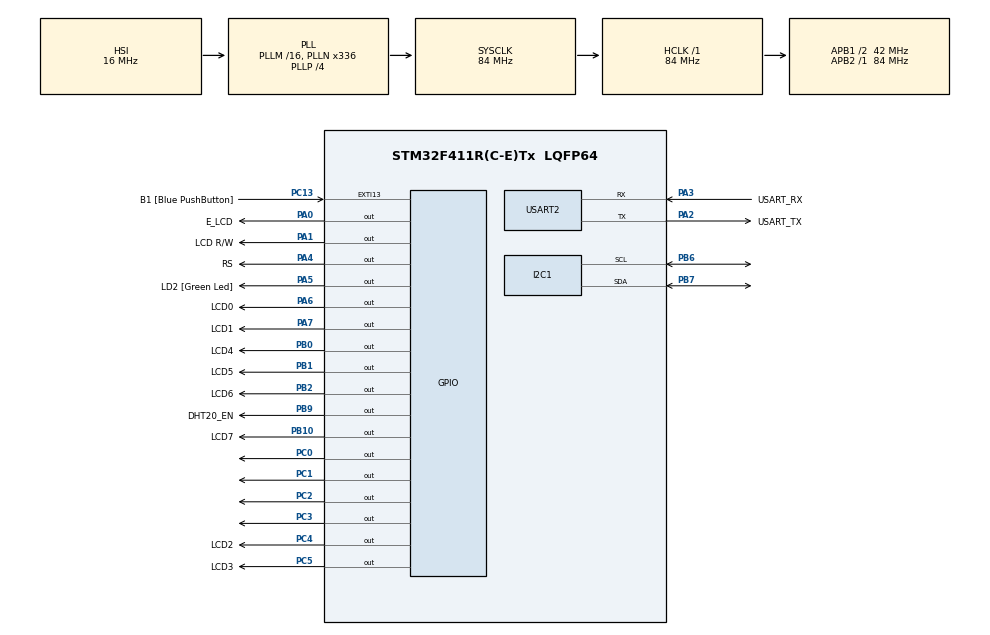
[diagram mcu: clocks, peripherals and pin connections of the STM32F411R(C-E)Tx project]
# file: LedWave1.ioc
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Mcu.Family=STM32F4
Mcu.Name=STM32F411R(C-E)Tx
Mcu.Package=LQFP64
NVIC.PriorityGroup=NVIC_PRIORITYGROUP_0
PA0-WKUP.GPIO_Label=E_LCD
PA0-WKUP.Signal=GPIO_Output
PA1.GPIO_Label=LCD R/W
PA1.Signal=GPIO_Output
PA13.GPIO_Label=TMS
PA13.Mode=Serial_Wire
PA13.Signal=SYS_JTMS-SWDIO
PA14.GPIO_Label=TCK
PA14.Mode=Serial_Wire
PA14.Signal=SYS_JTCK-SWCLK
PA2.GPIO_Label=USART_TX
PA2.Mode=Asynchronous
PA2.Signal=USART2_TX
PA3.GPIO_Label=USART_RX
PA3.Mode=Asynchronous
PA3.Signal=USART2_RX
PA4.GPIO_Label=RS
PA4.Signal=GPIO_Output
PA5.GPIO_Label=LD2 [Green Led]
PA5.Signal=GPIO_Output
PA6.GPIO_Label=LCD0
PA6.Signal=GPIO_Output
PA7.GPIO_Label=LCD1
PA7.Signal=GPIO_Output
PB0.GPIO_Label=LCD4
PB0.Signal=GPIO_Output
PB1.GPIO_Label=LCD5
PB1.Signal=GPIO_Output
PB10.GPIO_Label=LCD7
PB10.Signal=GPIO_Output
PB2.GPIO_Label=LCD6
PB2.Signal=GPIO_Output
PB3.GPIO_Label=SWO
PB3.Signal=SYS_JTDO-SWO
PB6.Mode=I2C
PB6.Signal=I2C1_SCL
PB7.Mode=I2C
PB7.Signal=I2C1_SDA
PB9.GPIO_Label=DHT20_EN
PB9.Signal=GPIO_Output
PC0.Signal=GPIO_Output
PC1.Signal=GPIO_Output
PC13-ANTI_TAMP.GPIO_Label=B1 [Blue PushButton]
PC13-ANTI_TAMP.GPIO_ModeDefaultEXTI=GPIO_MODE_IT_FALLING
PC13-ANTI_TAMP.Signal=GPXTI13
PC14-OSC32_IN.Mode=LSE-External-Oscillator
PC14-OSC32_IN.Signal=RCC_OSC32_IN
PC15-OSC32_OUT.Mode=LSE-External-Oscillator
PC15-OSC32_OUT.Signal=RCC_OSC32_OUT
PC2.Signal=GPIO_Output
PC3.Signal=GPIO_Output
PC4.GPIO_Label=LCD2
PC4.Signal=GPIO_Output
PC5.GPIO_Label=LCD3
PC5.Signal=GPIO_Output
PH0\ -\ OSC_IN.Mode=HSE-External-Clock-Source
PH0\ -\ OSC_IN.Signal=RCC_OSC_IN
PH1\ -\ OSC_OUT.Mode=HSE-External-Clock-Source
PH1\ -\ OSC_OUT.Signal=RCC_OSC_OUT
ProjectManager.HeapSize=0x200
ProjectManager.StackSize=0x400
ProjectManager.TargetToolchain=STM32CubeIDE
RCC.48MHZClocksFreq_Value=84000000
RCC.AHBFreq_Value=84000000
RCC.APB1CLKDivider=RCC_HCLK_DIV2
RCC.APB1Freq_Value=42000000
RCC.APB1TimFreq_Value=84000000
RCC.APB2Freq_Value=84000000
RCC.APB2TimFreq_Value=84000000
RCC.CortexFreq_Value=84000000
RCC.FLatency-AdvancedSettings=FLASH_LATENCY_2
RCC.HCLKFreq_Value=84000000
RCC.HSE_VALUE=8000000
RCC.HSI_VALUE=16000000
RCC.PLLN=336
RCC.PLLP=RCC_PLLP_DIV4
RCC.SYSCLKFreq_VALUE=84000000
RCC.SYSCLKSource=RCC_SYSCLKSOURCE_PLLCLK
RCC.VCOOutputFreq_Value=336000000
USART2.VirtualMode=VM_ASYNC
board=NUCLEO-F411RE

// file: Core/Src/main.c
/* USER CODE BEGIN Header */
/**
  ******************************************************************************
  * @file           : main.c
  * @brief          : Main program body
  ******************************************************************************
  * @attention
  *
  * Copyright (c) 2025 STMicroelectronics.
  * All rights reserved.
  *
  * This software is licensed under terms that can be found in the LICENSE file
  * in the root directory of this software component.
  * If no LICENSE file comes with this software, it is provided AS-IS.
  *
  ******************************************************************************
  */
/* USER CODE END Header */
#include "main.h"

/* USER CODE BEGIN Includes */
#include <string.h>
#include <stdio.h>
/* USER CODE END Includes */

/* USER CODE BEGIN PM */
#define LCD_NEXTLINE 							0xC0
#define LCD_CLEAR								0x01
#define LCD_8BIT_INIT_SIGNAL					0x30
#define LCD_8BIT_2LINES_5x8_FONT				0x38
#define LCD_DISPLAY_ON_CURSOR_OFF_BLINK_OFF		0x0C
#define LCD_ENTRY_MODE							0x06
#define DHT20_ADDRESS 							0x38
/* USER CODE END PM */

I2C_HandleTypeDef hi2c1;

UART_HandleTypeDef huart2;

void SystemClock_Config(void);
static void MX_GPIO_Init(void);
static void MX_USART2_UART_Init(void);
static void MX_I2C1_Init(void);
/* USER CODE BEGIN PFP */
void turnOnLED(int led_number);
void LCD_SendCommand(uint8_t cmd);
void LCD_SendData(uint8_t data);
void LCD_WriteByte(uint8_t byte);
void LCD_PulseEnable(void);
void writeToLCD(const char* str);
void LCD_Init(void);
void DHT20_Measure(void);
char* getMeasurement(void);
/* USER CODE END PFP */

int main(void)
{

  /* USER CODE BEGIN 1 */

//	HAL_Delay(1);

  /* USER CODE END 1 */

  /* MCU Configuration--------------------------------------------------------*/

  /* Reset of all peripherals, Initializes the Flash interface and the Systick. */
  HAL_Init();

  /* Configure the system clock */
  SystemClock_Config();

  /* Initialize all configured peripherals */
  MX_GPIO_Init();
  MX_USART2_UART_Init();
  MX_I2C1_Init();
  /* USER CODE BEGIN 2 */
  LCD_Init();

  writeToLCD("LCD WORKS!");
  LCD_SendCommand(LCD_NEXTLINE);
  writeToLCD("WELCOME");

  DHT20_Measure();
  /* USER CODE END 2 */

  /* Infinite loop */
  while (1)
  {

    /* USER CODE BEGIN 3 */
	  turnOnLED(0);
	  DHT20_Measure();
	  HAL_Delay(5000);

  }
  /* USER CODE END 3 */
}

void SystemClock_Config(void)
{
  RCC_OscInitTypeDef RCC_OscInitStruct = {0};
  RCC_ClkInitTypeDef RCC_ClkInitStruct = {0};

  /** Configure the main internal regulator output voltage
  */
  __HAL_RCC_PWR_CLK_ENABLE();
  __HAL_PWR_VOLTAGESCALING_CONFIG(PWR_REGULATOR_VOLTAGE_SCALE1);

  /** Initializes the RCC Oscillators according to the specified parameters
  * in the RCC_OscInitTypeDef structure.
  */
  RCC_OscInitStruct.OscillatorType = RCC_OSCILLATORTYPE_HSI;
  RCC_OscInitStruct.HSIState = RCC_HSI_ON;
  RCC_OscInitStruct.HSICalibrationValue = RCC_HSICALIBRATION_DEFAULT;
  RCC_OscInitStruct.PLL.PLLState = RCC_PLL_ON;
  RCC_OscInitStruct.PLL.PLLSource = RCC_PLLSOURCE_HSI;
  RCC_OscInitStruct.PLL.PLLM = 16;
  RCC_OscInitStruct.PLL.PLLN = 336;
  RCC_OscInitStruct.PLL.PLLP = RCC_PLLP_DIV4;
  RCC_OscInitStruct.PLL.PLLQ = 4;
  if (HAL_RCC_OscConfig(&RCC_OscInitStruct) != HAL_OK)
  {
    Error_Handler();
  }

  /** Initializes the CPU, AHB and APB buses clocks
  */
  RCC_ClkInitStruct.ClockType = RCC_CLOCKTYPE_HCLK|RCC_CLOCKTYPE_SYSCLK
                              |RCC_CLOCKTYPE_PCLK1|RCC_CLOCKTYPE_PCLK2;
  RCC_ClkInitStruct.SYSCLKSource = RCC_SYSCLKSOURCE_PLLCLK;
  RCC_ClkInitStruct.AHBCLKDivider = RCC_SYSCLK_DIV1;
  RCC_ClkInitStruct.APB1CLKDivider = RCC_HCLK_DIV2;
  RCC_ClkInitStruct.APB2CLKDivider = RCC_HCLK_DIV1;

  if (HAL_RCC_ClockConfig(&RCC_ClkInitStruct, FLASH_LATENCY_2) != HAL_OK)
  {
    Error_Handler();
  }
}

static void MX_I2C1_Init(void)
{

  hi2c1.Instance = I2C1;
  hi2c1.Init.ClockSpeed = 100000;
  hi2c1.Init.DutyCycle = I2C_DUTYCYCLE_2;
  hi2c1.Init.OwnAddress1 = 0;
  hi2c1.Init.AddressingMode = I2C_ADDRESSINGMODE_7BIT;
  hi2c1.Init.DualAddressMode = I2C_DUALADDRESS_DISABLE;
  hi2c1.Init.OwnAddress2 = 0;
  hi2c1.Init.GeneralCallMode = I2C_GENERALCALL_DISABLE;
  hi2c1.Init.NoStretchMode = I2C_NOSTRETCH_DISABLE;
  if (HAL_I2C_Init(&hi2c1) != HAL_OK)
  {
    Error_Handler();
  }

}

static void MX_USART2_UART_Init(void)
{

  huart2.Instance = USART2;
  huart2.Init.BaudRate = 115200;
  huart2.Init.WordLength = UART_WORDLENGTH_8B;
  huart2.Init.StopBits = UART_STOPBITS_1;
  huart2.Init.Parity = UART_PARITY_NONE;
  huart2.Init.Mode = UART_MODE_TX_RX;
  huart2.Init.HwFlowCtl = UART_HWCONTROL_NONE;
  huart2.Init.OverSampling = UART_OVERSAMPLING_16;
  if (HAL_UART_Init(&huart2) != HAL_OK)
  {
    Error_Handler();
  }

}

static void MX_GPIO_Init(void)
{
  GPIO_InitTypeDef GPIO_InitStruct = {0};

  /* GPIO Ports Clock Enable */
  __HAL_RCC_GPIOC_CLK_ENABLE();
  __HAL_RCC_GPIOH_CLK_ENABLE();
  __HAL_RCC_GPIOA_CLK_ENABLE();
  __HAL_RCC_GPIOB_CLK_ENABLE();

  /*Configure GPIO pin Output Level */
  HAL_GPIO_WritePin(GPIOC, GPIO_PIN_0|GPIO_PIN_1|GPIO_PIN_2|GPIO_PIN_3
                          |LCD2_Pin|LCD3_Pin, GPIO_PIN_RESET);

  /*Configure GPIO pin Output Level */
  HAL_GPIO_WritePin(GPIOA, E_LCD_Pin|LCD_R_W_Pin|RS_Pin|LD2_Pin
                          |LCD0_Pin|LCD1_Pin, GPIO_PIN_RESET);

  /*Configure GPIO pin Output Level */
  HAL_GPIO_WritePin(GPIOB, LCD4_Pin|LCD5_Pin|LCD6_Pin|LCD7_Pin
                          |DHT20_EN_Pin, GPIO_PIN_RESET);

  /*Configure GPIO pin : B1_Pin */
  GPIO_InitStruct.Pin = B1_Pin;
  GPIO_InitStruct.Mode = GPIO_MODE_IT_FALLING;
  GPIO_InitStruct.Pull = GPIO_NOPULL;
  HAL_GPIO_Init(B1_GPIO_Port, &GPIO_InitStruct);

  /*Configure GPIO pins : PC0 PC1 PC2 PC3
                           LCD2_Pin LCD3_Pin */
  GPIO_InitStruct.Pin = GPIO_PIN_0|GPIO_PIN_1|GPIO_PIN_2|GPIO_PIN_3
                          |LCD2_Pin|LCD3_Pin;
  GPIO_InitStruct.Mode = GPIO_MODE_OUTPUT_PP;
  GPIO_InitStruct.Pull = GPIO_NOPULL;
  GPIO_InitStruct.Speed = GPIO_SPEED_FREQ_LOW;
  HAL_GPIO_Init(GPIOC, &GPIO_InitStruct);

  /*Configure GPIO pins : E_LCD_Pin LCD_R_W_Pin RS_Pin LD2_Pin
                           LCD0_Pin LCD1_Pin */
  GPIO_InitStruct.Pin = E_LCD_Pin|LCD_R_W_Pin|RS_Pin|LD2_Pin
                          |LCD0_Pin|LCD1_Pin;
  GPIO_InitStruct.Mode = GPIO_MODE_OUTPUT_PP;
  GPIO_InitStruct.Pull = GPIO_NOPULL;
  GPIO_InitStruct.Speed = GPIO_SPEED_FREQ_LOW;
  HAL_GPIO_Init(GPIOA, &GPIO_InitStruct);

  /*Configure GPIO pins : LCD4_Pin LCD5_Pin LCD6_Pin LCD7_Pin
                           DHT20_EN_Pin */
  GPIO_InitStruct.Pin = LCD4_Pin|LCD5_Pin|LCD6_Pin|LCD7_Pin
                          |DHT20_EN_Pin;
  GPIO_InitStruct.Mode = GPIO_MODE_OUTPUT_PP;
  GPIO_InitStruct.Pull = GPIO_NOPULL;
  GPIO_InitStruct.Speed = GPIO_SPEED_FREQ_LOW;
  HAL_GPIO_Init(GPIOB, &GPIO_InitStruct);

}

/* USER CODE BEGIN 4 */
void LCD_SendCommand(uint8_t cmd) {
    HAL_GPIO_WritePin(RS_GPIO_Port, RS_Pin, GPIO_PIN_RESET);
    HAL_GPIO_WritePin(LCD_R_W_GPIO_Port, LCD_R_W_Pin, GPIO_PIN_RESET);
    LCD_WriteByte(cmd);
    HAL_Delay(1);
}

void LCD_SendData(uint8_t data) {
    HAL_GPIO_WritePin(RS_GPIO_Port, RS_Pin, GPIO_PIN_SET);
    HAL_GPIO_WritePin(LCD_R_W_GPIO_Port, LCD_R_W_Pin, GPIO_PIN_RESET);
    LCD_WriteByte(data);
    HAL_Delay(1);
}

void LCD_WriteByte(uint8_t byte) {
    // Write each bit to its respective pin
    HAL_GPIO_WritePin(LCD0_GPIO_Port, LCD0_Pin, (byte & 0x01) ? GPIO_PIN_SET : GPIO_PIN_RESET);
    HAL_GPIO_WritePin(LCD1_GPIO_Port, LCD1_Pin, (byte & 0x02) ? GPIO_PIN_SET : GPIO_PIN_RESET);
    HAL_GPIO_WritePin(LCD2_GPIO_Port, LCD2_Pin, (byte & 0x04) ? GPIO_PIN_SET : GPIO_PIN_RESET);
    HAL_GPIO_WritePin(LCD3_GPIO_Port, LCD3_Pin, (byte & 0x08) ? GPIO_PIN_SET : GPIO_PIN_RESET);
    HAL_GPIO_WritePin(LCD4_GPIO_Port, LCD4_Pin, (byte & 0x10) ? GPIO_PIN_SET : GPIO_PIN_RESET);
    HAL_GPIO_WritePin(LCD5_GPIO_Port, LCD5_Pin, (byte & 0x20) ? GPIO_PIN_SET : GPIO_PIN_RESET);
    HAL_GPIO_WritePin(LCD6_GPIO_Port, LCD6_Pin, (byte & 0x40) ? GPIO_PIN_SET : GPIO_PIN_RESET);
    HAL_GPIO_WritePin(LCD7_GPIO_Port, LCD7_Pin, (byte & 0x80) ? GPIO_PIN_SET : GPIO_PIN_RESET);

    // Pulse the enable pin
    LCD_PulseEnable();
}

void LCD_PulseEnable(void) {
    HAL_GPIO_WritePin(E_LCD_GPIO_Port, E_LCD_Pin, GPIO_PIN_SET);
    HAL_Delay(1);  // Enable pulse width (typically > 450ns)
    HAL_GPIO_WritePin(E_LCD_GPIO_Port, E_LCD_Pin, GPIO_PIN_RESET);
    // No need for additional delay here, handled in calling functions
}

void writeToLCD(const char* str) {
    while (*str) {
        LCD_SendData(*str++);
    }
}

void LCD_Init(void) {
    HAL_Delay(50);
    LCD_SendCommand(LCD_8BIT_INIT_SIGNAL);
    HAL_Delay(5);
    LCD_SendCommand(LCD_8BIT_INIT_SIGNAL);
    HAL_Delay(1);
    LCD_SendCommand(LCD_8BIT_INIT_SIGNAL);
    HAL_Delay(1);
    LCD_SendCommand(LCD_8BIT_2LINES_5x8_FONT);
    HAL_Delay(1);
    LCD_SendCommand(LCD_DISPLAY_ON_CURSOR_OFF_BLINK_OFF);
    HAL_Delay(1);
    LCD_SendCommand(LCD_CLEAR);
    HAL_Delay(2);
    LCD_SendCommand(LCD_ENTRY_MODE);
    HAL_Delay(1);
}

void DHT20_Measure(void) {
    HAL_GPIO_WritePin(GPIOB, DHT20_EN_Pin, GPIO_PIN_SET);  // Power ON
    HAL_Delay(200);

    uint8_t status_byte = 0;
    uint8_t command_buf[3] = {0xAC, 0x33, 0x00};
    uint8_t receive_buf[6] = {0};
    uint8_t init_reg[2];
    HAL_StatusTypeDef res;
    int attempts = 3;

    while (attempts--) {
        LCD_SendCommand(LCD_CLEAR);
        writeToLCD("Checking Status...");
        res = HAL_I2C_Master_Receive(&hi2c1, DHT20_ADDRESS << 1, &status_byte, 1, 500);

        if (res != HAL_OK) {
        	turnOnLED(2);
            LCD_SendCommand(LCD_NEXTLINE);
            writeToLCD("I2C Err - Resetting");
            HAL_I2C_DeInit(&hi2c1);
            HAL_Delay(10);
            HAL_I2C_Init(&hi2c1);
            HAL_Delay(100);
            continue;
        }

        if ((status_byte & 0x18) != 0x18) {
            LCD_SendCommand(LCD_CLEAR);
            writeToLCD("Init Regs 1B 1C 1E");

            init_reg[0] = 0x1B; init_reg[1] = 0x00;
            HAL_I2C_Master_Transmit(&hi2c1, DHT20_ADDRESS << 1, init_reg, 2, 500);
            HAL_Delay(5);

            init_reg[0] = 0x1C; init_reg[1] = 0x00;
            HAL_I2C_Master_Transmit(&hi2c1, DHT20_ADDRESS << 1, init_reg, 2, 500);
            HAL_Delay(5);

            init_reg[0] = 0x1E; init_reg[1] = 0x00;
            HAL_I2C_Master_Transmit(&hi2c1, DHT20_ADDRESS << 1, init_reg, 2, 500);
            HAL_Delay(5);
        }

        res = HAL_I2C_Master_Transmit(&hi2c1, DHT20_ADDRESS << 1, command_buf, 3, 500);
        HAL_Delay(80);
        if (res != HAL_OK) {
        	turnOnLED(2);
            LCD_SendCommand(LCD_CLEAR);
            writeToLCD("Cmd Fail - Reset");
            HAL_I2C_DeInit(&hi2c1);
            HAL_Delay(10);
            HAL_I2C_Init(&hi2c1);
            HAL_Delay(100);
            continue;
        }

        HAL_I2C_Master_Receive(&hi2c1, DHT20_ADDRESS << 1, &status_byte, 1, 500);
        if ((status_byte & 0x80) == 0) {
            res = HAL_I2C_Master_Receive(&hi2c1, DHT20_ADDRESS << 1, receive_buf, 6, 1000);
            if (res != HAL_OK) {
                LCD_SendCommand(LCD_CLEAR);
                writeToLCD("Read Fail - Retry");
            	turnOnLED(2);
                continue;
            }

            uint32_t raw_humidity = ((uint32_t)receive_buf[1] << 12) |
                                    ((uint32_t)receive_buf[2] << 4) |
                                    ((uint32_t)(receive_buf[3] >> 4));

            uint32_t raw_temperature = (((uint32_t)(receive_buf[3] & 0x0F)) << 16) |
                                       ((uint32_t)receive_buf[4] << 8) |
                                       (uint32_t)receive_buf[5];

            float humidity = (raw_humidity / 1048576.0) * 100.0;
            float temperature = ((raw_temperature / 1048576.0) * 200.0) - 50.0;

            char lcd_buf[32];
            LCD_SendCommand(LCD_CLEAR);
            snprintf(lcd_buf, sizeof(lcd_buf), "Hum: %.2f%%", humidity);
            writeToLCD(lcd_buf);
            LCD_SendCommand(LCD_NEXTLINE);
            snprintf(lcd_buf, sizeof(lcd_buf), "Temp: %.2fC", temperature);
            writeToLCD(lcd_buf);
        	turnOnLED(1);
            break;  // success
        } else {
        	turnOnLED(3);
            LCD_SendCommand(LCD_CLEAR);
            writeToLCD("Data not ready");
            HAL_Delay(100);
        }
    }

    if (attempts < 0) {
        LCD_SendCommand(LCD_CLEAR);
        writeToLCD("DHT20 Failed");
    }

    HAL_GPIO_WritePin(GPIOB, DHT20_EN_Pin, GPIO_PIN_RESET);
}

void turnOnLED(int led_number) {
	switch(led_number) {
	case 0:
	    HAL_GPIO_WritePin(GPIOC, GPIO_PIN_0, GPIO_PIN_SET);
	    HAL_Delay(100);
	    HAL_GPIO_WritePin(GPIOC, GPIO_PIN_0, GPIO_PIN_RESET);
		break;
	case 1:
	    HAL_GPIO_WritePin(GPIOC, GPIO_PIN_1, GPIO_PIN_SET);
	    HAL_Delay(100);
	    HAL_GPIO_WritePin(GPIOC, GPIO_PIN_1, GPIO_PIN_RESET);
		break;
	case 2:
	    HAL_GPIO_WritePin(GPIOC, GPIO_PIN_2, GPIO_PIN_SET);
	    HAL_Delay(100);
	    HAL_GPIO_WritePin(GPIOC, GPIO_PIN_2, GPIO_PIN_RESET);
		break;
	case 3:
	    HAL_GPIO_WritePin(GPIOC, GPIO_PIN_3, GPIO_PIN_SET);
	    HAL_Delay(100);
	    HAL_GPIO_WritePin(GPIOC, GPIO_PIN_3, GPIO_PIN_RESET);
		break;
	}
}
/* USER CODE END 4 */

void Error_Handler(void)
{
  __disable_irq();
  while (1)
  {
  }
}
